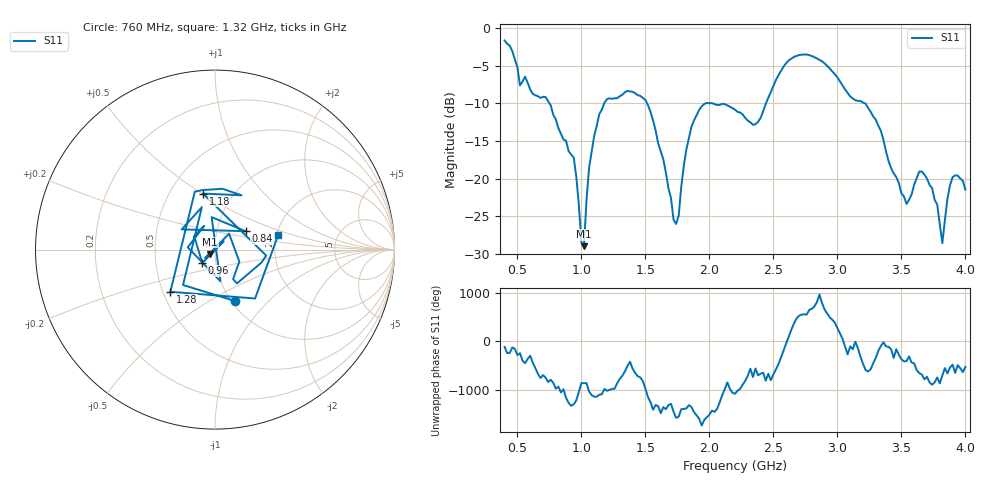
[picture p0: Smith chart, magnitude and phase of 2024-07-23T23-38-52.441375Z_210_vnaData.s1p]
!Created with skrf (http://scikit-rf.org).
# Hz S RI R 50.0
!freq ReS11 ImS11
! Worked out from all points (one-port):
!   181 points, 400 MHz to 4 GHz, reference 50 ohm
!   lowest |S11| = -28.9 dB at 1.02 GHz (marker M1), VSWR 1.07, Z = 47.3 - j2.25 ohm
!   |S11| at or under -10 dB: 750.6 MHz to 1.178 GHz (427.5 MHz wide, 44.3 % of centre); 1.513 GHz to 1.972 GHz (458.8 MHz wide, 26.3 % of centre); 3.215 GHz to end of sweep (the widest 3 of 4)
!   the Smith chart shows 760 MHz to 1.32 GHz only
!   S11 on the Smith chart (normalised r, x): 760 MHz: 1.04, -0.66; 840 MHz: 1.37, +0.29; 960 MHz: 0.86, -0.13; 1.18 GHz: 0.73, +0.51; 1.28 GHz: 0.55, -0.29; 1.32 GHz: 2.04, +0.38
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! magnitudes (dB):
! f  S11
! 400 MHz  -1.7
! 520 MHz  -7.6
! 760 MHz  -10.3
! 840 MHz  -14.0
! 860 MHz  -14.8
! 960 MHz  -19.7
! 1 GHz  -28.4
! 1.02 GHz  -28.9
! 1.06 GHz  -18.5
! 1.18 GHz  -9.9
! 1.28 GHz  -9.3
! 1.3 GHz  -9.1
! 1.32 GHz  -8.9
! 1.52 GHz  -10.2
! 1.72 GHz  -25.4
! 1.76 GHz  -24.9
! 1.82 GHz  -16.1
! 1.92 GHz  -10.9
! 2.2 GHz  -10.8
! 2.36 GHz  -12.8
! 2.66 GHz  -3.9
! 3.1 GHz  -9.1
! 3.3 GHz  -12.2
! 3.56 GHz  -22.8
! 3.68 GHz  -19.4
! 3.82 GHz  -28.5
! 3.9 GHz  -19.8
! 4 GHz  -21.5
